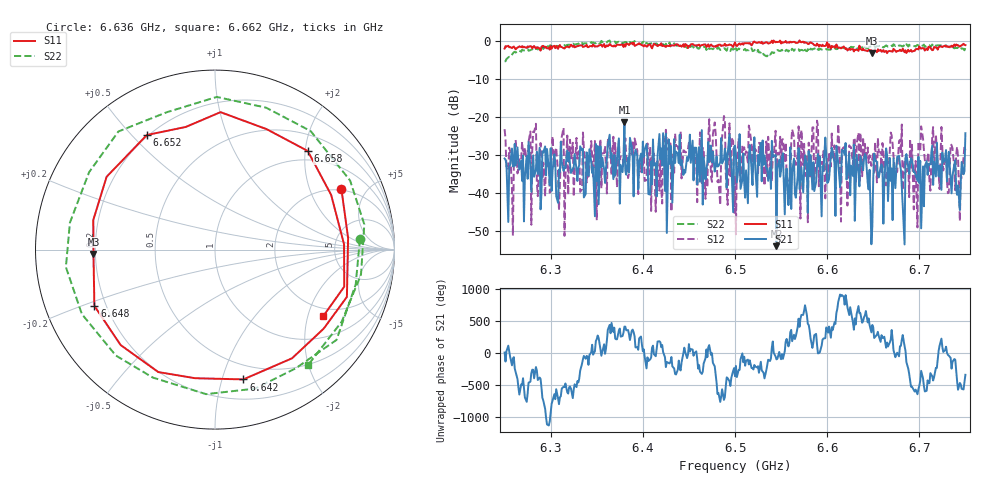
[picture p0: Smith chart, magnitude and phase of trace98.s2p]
# Hz S RI R 50
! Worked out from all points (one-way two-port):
!   401 points, 6.25 GHz to 6.75 GHz, reference 50 ohm
!   highest |S21| = -21.49 dB at 6.38 GHz (marker M1); lowest = -53.9 dB at 6.545 GHz (marker M2)
!   lowest |S11| = -3.4 dB at 6.649 GHz (marker M3), VSWR 5.20, Z = 9.61 - j0.867 ohm
!   |S11| at or under -10 dB: nowhere
!   |S22| runs from -5.5 to 0.0 dB; largest |S21 - S12| = 0.13
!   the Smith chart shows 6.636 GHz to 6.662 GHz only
!   S11 on the Smith chart (normalised r, x): 6.636 GHz: 1.96, +3.36; 6.642 GHz: 0.37, -1.17; 6.648 GHz: 0.16, -0.22; 6.652 GHz: 0.19, +0.55; 6.658 GHz: 0.80, +2.05; 6.662 GHz: 1.68, -2.51
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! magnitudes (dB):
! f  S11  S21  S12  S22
! 6.25 GHz  -2.1  -30.9  -23.2  -5.5
! 6.259 GHz  -1.7  -33.0  -51.1  -3.4
! 6.334 GHz  -1.3  -28.8  -39.0  -0.6
! 6.38 GHz  -1.0  -21.5  -27.8  -0.4
! 6.418 GHz  -1.1  -24.5  -39.4  -1.2
! 6.428 GHz  -1.4  -25.9  -29.0  -1.1
! 6.482 GHz  -1.1  -32.9  -36.5  -1.8
! 6.488 GHz  -1.3  -31.2  -19.8  -2.1
! 6.5 GHz  -0.5  -27.6  -35.2  -2.6
! 6.515 GHz  -0.8  -30.8  -22.3  -2.6
! 6.545 GHz  -0.3  -53.9  -36.1  -2.9
! 6.584 GHz  -0.8  -39.0  -22.8  -2.4
! 6.636 GHz  -2.2  -30.3  -24.2  -1.8
! 6.642 GHz  -2.6  -30.4  -31.5  -1.9
! 6.648 GHz  -2.6  -53.4  -32.9  -1.6
! 6.649 GHz  -3.4  -48.8  -30.8  -1.7
! 6.652 GHz  -2.6  -31.3  -26.7  -1.8
! 6.658 GHz  -2.4  -33.2  -29.3  -1.5
! 6.662 GHz  -3.0  -37.4  -34.1  -1.7
! 6.668 GHz  -2.7  -30.9  -28.7  -1.6
! 6.742 GHz  -1.2  -38.0  -30.4  -1.8
! 6.75 GHz  -1.2  -24.3  -28.8  -1.9
